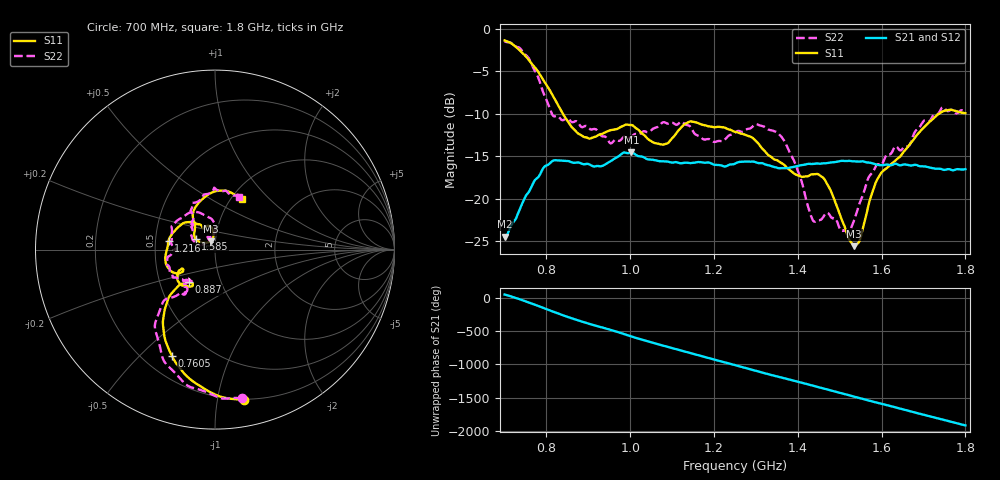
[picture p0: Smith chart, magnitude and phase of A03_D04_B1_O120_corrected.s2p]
! Created with skrf 1.9.0 (http://scikit-rf.org).
# Hz S RI R 50.0
!freq ReS11 ImS11 ReS21 ImS21 ReS12 ImS12 ReS22 ImS22
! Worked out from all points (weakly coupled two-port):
!   1601 points, 700 MHz to 1.8 GHz, reference 50 ohm
!   highest |S21| = -14.57 dB at 1.002 GHz (marker M1); lowest = -24.5 dB at 701.4 MHz (marker M2)
!   lowest |S11| = -25.6 dB at 1.535 GHz (marker M3), VSWR 1.11, Z = 47.5 + j4.45 ohm
!   |S11| at or under -10 dB: 839 MHz to 1.737 GHz (897.9 MHz wide, 69.7 % of centre)
!   |S22| runs from -24.0 to -1.5 dB; largest |S21 - S12| = 0.0035
!   S11 on the Smith chart (normalised r, x): 700 MHz: 0.20, -1.19; 760.5 MHz: 0.31, -0.63; 887 MHz: 0.70, -0.27; 1.216 GHz: 0.59, +0.06; 1.585 GHz: 0.80, +0.10; 1.8 GHz: 1.12, +0.70
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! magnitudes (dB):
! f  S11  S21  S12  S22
! 700 MHz  -1.4  -24.5  -24.2  -1.5
! 701.4 MHz  -1.4  -24.5  -24.1  -1.5
! 760.5 MHz  -3.9  -19.0  -18.8  -3.7
! 814.8 MHz  -7.9  -15.6  -15.6  -10.2
! 883.6 MHz  -12.6  -15.9  -15.8  -11.6
! 887 MHz  -12.7  -15.9  -15.8  -11.6
! 953 MHz  -11.9  -15.6  -15.6  -13.5
! 1.002 GHz  -11.3  -14.6  -14.7  -12.7
! 1.067 GHz  -13.5  -15.6  -15.5  -11.5
! 1.141 GHz  -10.9  -15.8  -15.8  -11.4
! 1.216 GHz  -11.6  -16.1  -16.1  -13.2
! 1.25 GHz  -12.1  -15.9  -15.8  -12.2
! 1.359 GHz  -15.7  -16.4  -16.4  -12.6
! 1.396 GHz  -17.2  -16.2  -16.2  -16.2
! 1.434 GHz  -17.1  -15.9  -15.9  -22.3
! 1.467 GHz  -18.0  -15.8  -15.8  -21.7
! 1.517 GHz  -24.1  -15.6  -15.6  -23.9
! 1.535 GHz  -25.6  -15.6  -15.6  -22.5
! 1.585 GHz  -18.2  -16.0  -16.0  -16.3
! 1.617 GHz  -16.2  -16.0  -16.0  -14.8
! 1.737 GHz  -10.0  -16.5  -16.5  -9.8
! 1.8 GHz  -9.9  -16.5  -16.5  -9.8
